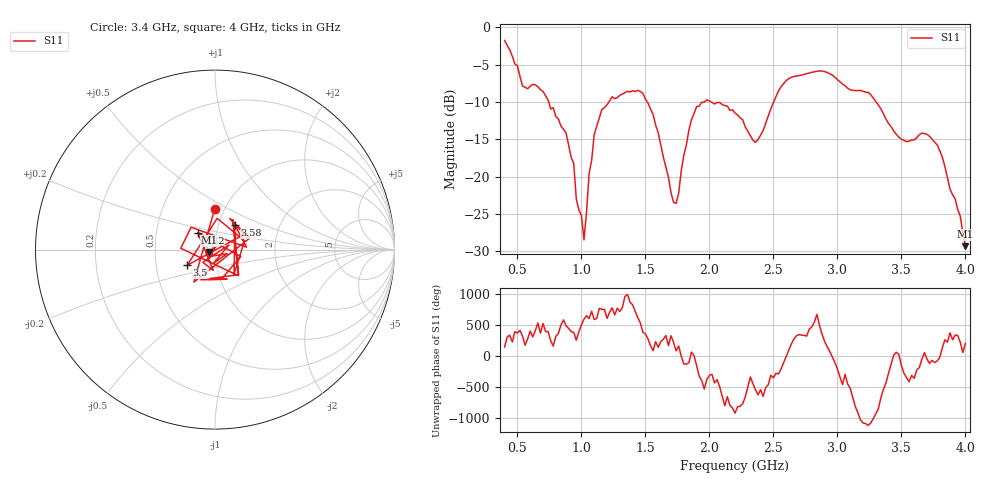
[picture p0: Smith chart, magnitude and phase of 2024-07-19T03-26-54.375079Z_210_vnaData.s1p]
!Created with skrf (http://scikit-rf.org).
# Hz S RI R 50.0
!freq ReS11 ImS11
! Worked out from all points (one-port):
!   181 points, 400 MHz to 4 GHz, reference 50 ohm
!   lowest |S11| = -29.3 dB at 4 GHz (marker M1), VSWR 1.07, Z = 47 - j1.36 ohm
!   |S11| at or under -10 dB: 744.2 MHz to 1.216 GHz (471.5 MHz wide, 48.1 % of centre); 2.014 GHz to 2.502 GHz (487.8 MHz wide, 21.6 % of centre); 3.303 GHz to end of sweep (the widest 3 of 4)
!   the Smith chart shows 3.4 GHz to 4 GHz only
!   S11 on the Smith chart (normalised r, x): 3.4 GHz: 0.90, +0.43; 3.5 GHz: 0.72, -0.13; 3.58 GHz: 1.20, +0.34; 3.82 GHz: 0.81, +0.16; 4 GHz: 0.94, -0.03
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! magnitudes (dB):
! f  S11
! 400 MHz  -1.8
! 540 MHz  -7.9
! 700 MHz  -8.6
! 860 MHz  -13.7
! 940 MHz  -18.3
! 960 MHz  -23.0
! 1.02 GHz  -28.5
! 1.06 GHz  -19.6
! 1.1 GHz  -14.4
! 1.16 GHz  -11.0
! 1.3 GHz  -9.1
! 1.48 GHz  -8.8
! 1.56 GHz  -11.7
! 1.72 GHz  -23.5
! 1.76 GHz  -22.2
! 1.84 GHz  -13.8
! 1.9 GHz  -10.6
! 2.2 GHz  -11.5
! 2.36 GHz  -15.4
! 2.66 GHz  -6.6
! 3.1 GHz  -8.4
! 3.4 GHz  -12.9
! 3.5 GHz  -15.0
! 3.56 GHz  -15.3
! 3.58 GHz  -15.1
! 3.7 GHz  -14.3
! 3.82 GHz  -17.4
! 4 GHz  -29.3
